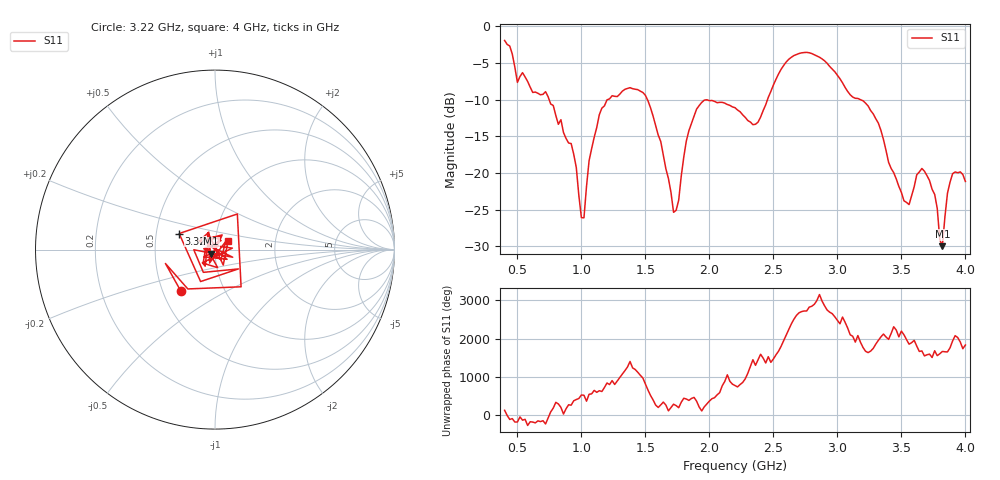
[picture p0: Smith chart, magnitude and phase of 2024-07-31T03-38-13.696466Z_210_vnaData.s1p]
!Created with skrf (http://scikit-rf.org).
# Hz S RI R 50.0
!freq ReS11 ImS11
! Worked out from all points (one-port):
!   181 points, 400 MHz to 4 GHz, reference 50 ohm
!   lowest |S11| = -30.0 dB at 3.82 GHz (marker M1), VSWR 1.07, Z = 47.8 - j2.17 ohm
!   |S11| at or under -10 dB: 748 MHz to 1.203 GHz (454.8 MHz wide, 46.6 % of centre); 1.516 GHz to 2.454 GHz (937.8 MHz wide, 47.2 % of centre); 3.181 GHz to end of sweep
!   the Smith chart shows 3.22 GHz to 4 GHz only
!   S11 on the Smith chart (normalised r, x): 3.22 GHz: 0.62, -0.31; 3.32 GHz: 0.66, +0.12; 4 GHz: 1.15, +0.11
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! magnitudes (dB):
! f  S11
! 400 MHz  -1.9
! 500 MHz  -7.6
! 720 MHz  -8.9
! 860 MHz  -14.5
! 920 MHz  -16.0
! 1.02 GHz  -26.1
! 1.06 GHz  -18.3
! 1.14 GHz  -12.0
! 1.3 GHz  -9.2
! 1.5 GHz  -9.4
! 1.62 GHz  -15.7
! 1.72 GHz  -25.4
! 1.76 GHz  -23.7
! 1.82 GHz  -15.6
! 1.9 GHz  -11.3
! 2.2 GHz  -11.1
! 2.38 GHz  -13.1
! 2.66 GHz  -4.0
! 3.1 GHz  -9.3
! 3.22 GHz  -10.5
! 3.32 GHz  -13.2
! 3.56 GHz  -24.3
! 3.68 GHz  -19.8
! 3.76 GHz  -22.9
! 3.82 GHz  -30.0
! 3.86 GHz  -22.8
! 3.9 GHz  -20.1
! 4 GHz  -21.2
